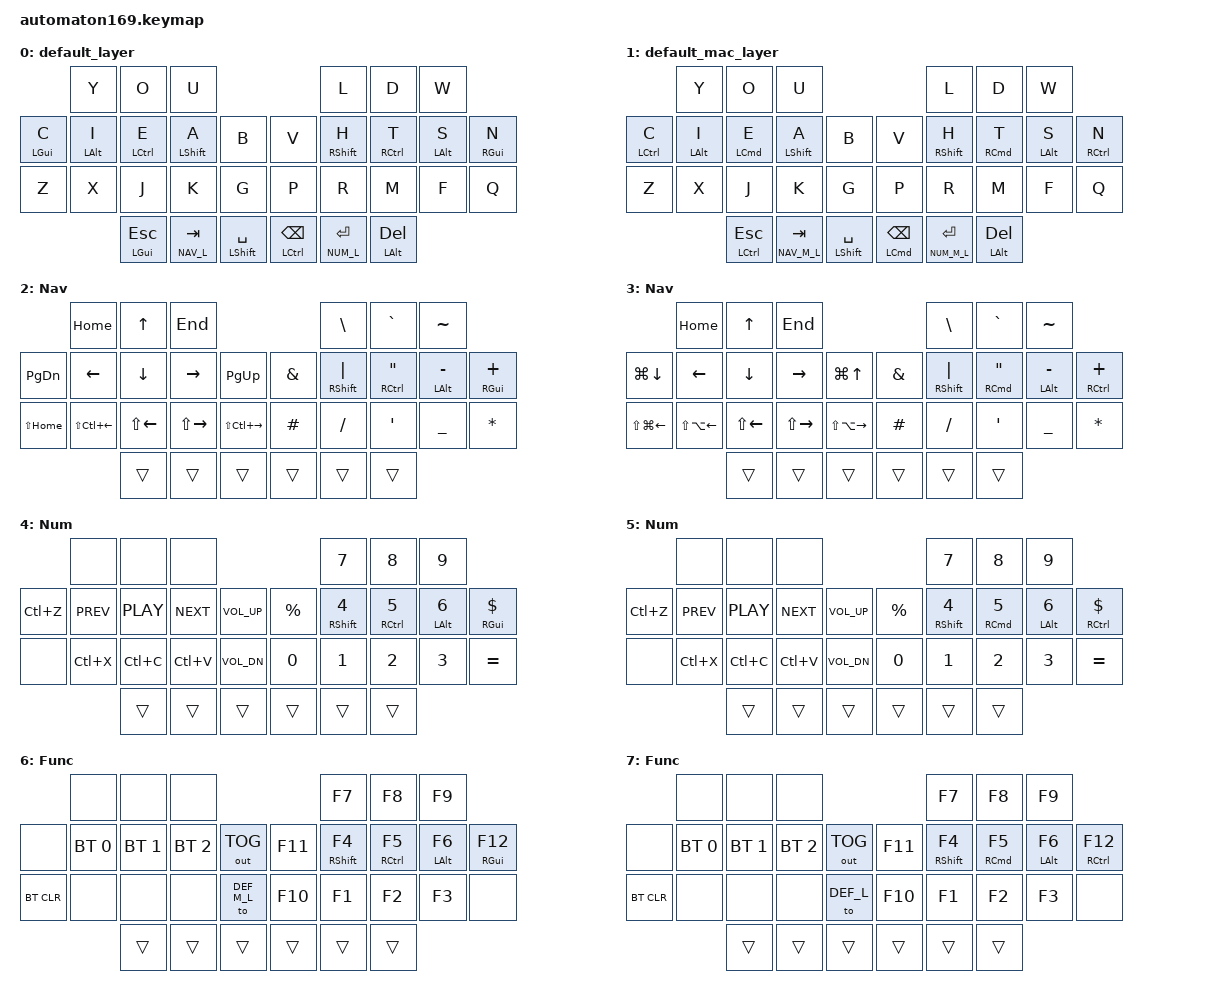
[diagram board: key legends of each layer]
/*
 * Copyright (c) 2022 The ZMK Contributors
 *
 * SPDX-License-Identifier: MIT
 */
#include <dt-bindings/zmk/keys.h>
#include <behaviors.dtsi>
#include <dt-bindings/zmk/outputs.h>
#include <dt-bindings/zmk/bt.h>

#define DEF_L 0
#define DEF_M_L 1
#define NAV_L 2
#define NAV_M_L 3
#define NUM_L 4
#define NUM_M_L 5
#define FUNC_L 6
#define FUNC_M_L 7


/* Shortcuts */
#define CUT_M LC(X)
#define COPY_M LC(C)
#define PASTE_M LC(V)
#define UNDO_M LC(Z)
#define SLALL_M LC(A)

// Using layer taps on thumbs, having quick tap as well helps w/ repeating space/backspace
&lt { quick_tap_ms = <200>; };

/ {
    behaviors {
        hm: homerow_mods {
            compatible = "zmk,behavior-hold-tap";
            label = "homerow mods";
            #binding-cells = <2>;
            tapping_term_ms = <200>;
            flavor = "tap-preferred";
            bindings = <&kp>, <&kp>;
        };
    };
    conditional_layers {
        compatible = "zmk,conditional-layers";
        tri_layer {
            if-layers = <NAV_L NUM_L>;
            then-layer = <FUNC_L>;
        };
        tri_layer_M {
            if-layers = <NAV_M_L NUM_M_L>;
            then-layer = <FUNC_M_L>;
        };
    };

    combos {
        compatible = "zmk,combos";

        /*            KEY POSITIONS

             0   1   2              3   4   5    
         6   7   8   9  10     11  12  13  14  15
        16  17  18  19  20     21  22  23  24  25
                26  27  28     29  30  31              
        */
        combo_dot { timeout-ms = <50>; key-positions = <23 24>; bindings = <&kp DOT>; layers = <DEF_L DEF_M_L>; }; // .
        combo_comma { timeout-ms = <50>; key-positions = <22 23>; bindings = <&kp COMMA>; layers = <DEF_L DEF_M_L>; }; // ,
        combo_semicolon { timeout-ms = <50>; key-positions = <14 15>; bindings = <&kp SEMICOLON>; layers = <DEF_L DEF_M_L>; }; // ;
        combo_slash { timeout-ms = <50>; key-positions = <24 25>; bindings = <&kp SLASH>; layers = <DEF_L DEF_M_L>; }; // /
        combo_lbkt { timeout-ms = <50>; key-positions = <22 23>; bindings = <&kp LBKT>; layers = <NAV_L NAV_M_L>; }; // ]
        combo_rbkt { timeout-ms = <50>; key-positions = <23 24>; bindings = <&kp RBKT>; layers = <NAV_L NAV_M_L>; }; // [
        combo_lpar { timeout-ms = <50>; key-positions = <12 13>; bindings = <&kp LPAR>; layers = <NAV_L NAV_M_L>; }; // (
        combo_rpar { timeout-ms = <50>; key-positions = <13 14>; bindings = <&kp RPAR>; layers = <NAV_L NAV_M_L>; }; // )
        combo_lbrc { timeout-ms = <50>; key-positions = <3 4>; bindings = <&kp LBRC>; layers = <NAV_L NAV_M_L>; }; // {
        combo_rbrc { timeout-ms = <50>; key-positions = <4 5>; bindings = <&kp RBRC>; layers = <NAV_L NAV_M_L>; }; // }
        combo_excl { timeout-ms = <50>; key-positions = <24 25>; bindings = <&kp EXCL>; layers = <NAV_L NAV_M_L>; }; // !
        combo_euro { timeout-ms = <50>; key-positions = <14 15>; bindings = <&kp RA(N5)>; layers = <NUM_L>; }; // €
        combo_euro_m { timeout-ms = <50>; key-positions = <14 15>; bindings = <&kp LS(LA(N2))>; layers = <NUM_M_L>; }; // €
        combo_at { timeout-ms = <50>; key-positions = <4 5>; bindings = <&kp AT>; layers = <NUM_L NUM_M_L>; }; // at
        combo_ss { timeout-ms = <50>; key-positions = <3 4>; bindings = <&kp RA(S)>; layers = <NUM_L>; }; // ss
        combo_caret { timeout-ms = <50>; key-positions = <24 25>; bindings = <&kp CARET>; layers = <NUM_L NUM_M_L>; }; // ^
    };

    keymap {
        compatible = "zmk,keymap";

        //             | Y     | O     | U     |                   | L     | D     | W     |
        //      | C    | I     | E     | A     | B     |   | V     | H     | T     | S     | N     | 
        //      | Z    | X     | J     | K     | G     |   | P     | R     | M     | T     | Q     |
        //                     | ESC   | TAB   | SPACE |   | BSPC  | ENTER | DEL   |
        default_layer {
            bindings = <
                           &kp Y      &kp O        &kp U                                          &kp L           &kp D       &kp W       
                &hm LGUI C &hm LALT I &hm LCTRL E  &hm LSHFT A   &kp B             &kp V          &hm RSHFT H     &hm RCTRL T &hm LALT S &hm RGUI N
                &kp Z      &kp X      &kp J        &kp K         &kp G             &kp P          &kp R           &kp M       &kp F      &kp Q
                                      &mt LGUI ESC &lt NAV_L TAB &mt LSHFT SPACE   &mt LCTRL BSPC &lt NUM_L ENTER &mt LALT DEL
            >;
        };

        //             | Y     | O     | U     |                   | L     | D     | W     |
        //      | C    | I     | E     | A     | B     |   | V     | H     | T     | S     | N     | 
        //      | Z    | X     | J     | K     | G     |   | P     | R     | M     | T     | Q     |
        //                     | ESC   | TAB   | SPACE |   | BSPC  | ENTER | DEL   |
        default_mac_layer {
            bindings = <
                            &kp Y      &kp O         &kp U                                            &kp L             &kp D       &kp W       
                &hm LCTRL C &hm LALT I &hm LCMD E    &hm LSHFT A     &kp B             &kp V          &hm RSHFT H       &hm RCMD T  &hm LALT S &hm RCTRL N
                &kp Z       &kp X      &kp J         &kp K           &kp G             &kp P          &kp R             &kp M       &kp F      &kp Q
                                       &mt LCTRL ESC &lt NAV_M_L TAB &mt LSHFT SPACE   &mt LCMD BSPC  &lt NUM_M_L ENTER &mt LALT DEL
            >;
        };

        //             | POS1  | UP    | END   |                   |   \   |   `   |   ~   |
        //      | pgDwn| LEFT  | DOWN  | RIGHT | pgUp  |   |   &   |   |   |   "   |   -   |   +   | 
        //      | sPos1| sBWrd | sBChr | sFChr | sFWrd |   |   #   |   /   |   '   |   _   |   *   |
        //                     | ESC   | TAB   | SPACE |   | BSPC  | ENTER | DEL   |
        nav_layer {
            label = "Nav";
            bindings = <
                             &kp HOME         &kp UP       &kp END                                         &kp BSLH         &kp GRAVE     &kp TILDE 
                &kp PG_DN    &kp LEFT         &kp DOWN     &kp RIGHT     &kp PG_UP              &kp AMPS   &hm RSHFT PIPE   &hm RCTRL DQT &hm LALT MINUS &hm RGUI PLUS
                &kp LS(HOME) &kp LS(LC(LEFT)) &kp LS(LEFT) &kp LS(RIGHT) &kp LS(LC(RIGHT))      &kp HASH   &kp SLASH        &kp SQT       &kp UNDER      &kp ASTRK
                                              &trans       &trans        &trans                 &trans     &trans           &trans               
            >;
        };
    
        //             | POS1  | UP    | END   |                   |   \   |   `   |   ~   |
        //      | pgDwn| LEFT  | DOWN  | RIGHT | pgUp  |   |   &   |   |   |   "   |   -   |   +   | 
        //      | sPos1| sBWrd | sBChr | sFChr | sFWrd |   |   #   |   /   |   '   |   _   |   *   |
        //                     | ESC   | TAB   | SPACE |   | BSPC  | ENTER | DEL   |
        nav_mac_layer {
            label = "Nav";
            bindings = <
                                 &kp HOME         &kp UP       &kp END                                         &kp BSLH           &kp GRAVE     &kp TILDE 
                &kp LG(DOWN)     &kp LEFT         &kp DOWN     &kp RIGHT     &kp LG(UP)             &kp AMPS   &hm RSHFT PIPE     &hm RCMD DQT  &hm LALT MINUS &hm RCTRL PLUS
                &kp LS(LG(LEFT)) &kp LS(LA(LEFT)) &kp LS(LEFT) &kp LS(RIGHT) &kp LS(LA(RIGHT))      &kp HASH   &kp SLASH          &kp SQT       &kp UNDER      &kp ASTRK
                                                  &trans       &trans        &trans                 &trans     &trans             &trans               
            >;
        };

        //             |       |       |       |                   |   7   |   8   |   9   |
        //      | undo | Prev  | Play  | Next  | volU  |   |   %   |   4   |   5   |   6   |   $   | 
        //      |      | cut   | copy  | paste | volD  |   |   0   |   1   |   2   |   3   |   =   |
        //                     | ESC   | TAB   | SPACE |   | BSPC  | ENTER | DEL   |
        num_layer {
            label = "Num";
            bindings = <
                             &none            &none        &none                                             &kp N7        &kp N8       &kp N9 
                &kp UNDO_M   &kp C_PREV       &kp C_PLAY   &kp C_NEXT     &kp C_VOL_UP           &kp PERCENT &hm RSHFT N4  &hm RCTRL N5 &hm LALT N6 &hm RGUI DOLLAR
                &none        &kp CUT_M        &kp COPY_M   &kp PASTE_M    &kp C_VOL_DN           &kp N0      &kp N1        &kp N2       &kp N3      &kp EQUAL
                                              &trans       &trans         &trans                 &trans      &trans        &trans               
            >;
        };

        //             |       |       |       |                   |   7   |   8   |   9   |
        //      | undo | Prev  | Play  | Next  | volU  |   |   %   |   4   |   5   |   6   |   $   | 
        //      |      | cut   | copy  | paste | volD  |   |   0   |   1   |   2   |   3   |   =   |
        //                     | ESC   | TAB   | SPACE |   | BSPC  | ENTER | DEL   |
        num_mac_layer {
            label = "Num";
            bindings = <
                             &none            &none        &none                                               &kp N7        &kp N8       &kp N9 
                &kp UNDO_M   &kp C_PREV       &kp C_PLAY   &kp C_NEXT       &kp C_VOL_UP           &kp PERCENT &hm RSHFT N4  &hm RCMD N5  &hm LALT N6 &hm RCTRL DOLLAR
                &none        &kp CUT_M        &kp COPY_M   &kp PASTE_M      &kp C_VOL_DN           &kp N0      &kp N1        &kp N2       &kp N3      &kp EQUAL
                                              &trans       &trans           &trans                 &trans      &trans        &trans               
            >;
        };

        //             |       | XTRPWR|       |                   |   F7  |   F8  |   F9  |
        //      |      | BT1   | BT2   | BT3   | USB   |   |   F11 |   F4  |   F5  |   F6  |   F12 | 
        //      | BTCLR| L-    | BLGHT | L+    | MAC   |   |   F10 |   F1  |   F2  |   F3  |       |
        //                     | ESC   | TAB   | SPACE |   | BSPC  | ENTER | DEL   |
        func_layer {
            label = "Func";
            bindings = <
                             &none            &none             &none                                           &kp F7        &kp F8       &kp F9 
                &none        &bt BT_SEL 0     &bt BT_SEL 1      &bt BT_SEL 2  &out OUT_TOG          &kp F11     &hm RSHFT F4  &hm RCTRL F5 &hm LALT F6 &hm RGUI F12
                &bt BT_CLR   &none            &none             &none         &to DEF_M_L           &kp F10     &kp F1        &kp F2       &kp F3      &none 
                                              &trans            &trans        &trans                &trans      &trans        &trans               
            >;
        };

        //             |       | XTRPWR|       |                   |   F7  |   F8  |   F9  |
        //      |      | BT1   | BT2   | BT3   | USB   |   |   F11 |   F4  |   F5  |   F6  |   F12 | 
        //      | BTCLR| L-    | BLGHT | L+    | WIN   |   |   F10 |   F1  |   F2  |   F3  |       |
        //                     | ESC   | TAB   | SPACE |   | BSPC  | ENTER | DEL   |
        func_mac_layer {
            label = "Func";
            bindings = <
                             &none            &none             &none                                           &kp F7        &kp F8      &kp F9 
                &none        &bt BT_SEL 0     &bt BT_SEL 1      &bt BT_SEL 2  &out OUT_TOG          &kp F11     &hm RSHFT F4  &hm RCMD F5 &hm LALT F6 &hm RCTRL F12
                &bt BT_CLR   &none            &none             &none         &to DEF_L             &kp F10     &kp F1        &kp F2      &kp F3      &none 
                                              &trans            &trans        &trans                &trans      &trans        &trans               
            >;
        };
    };
};
